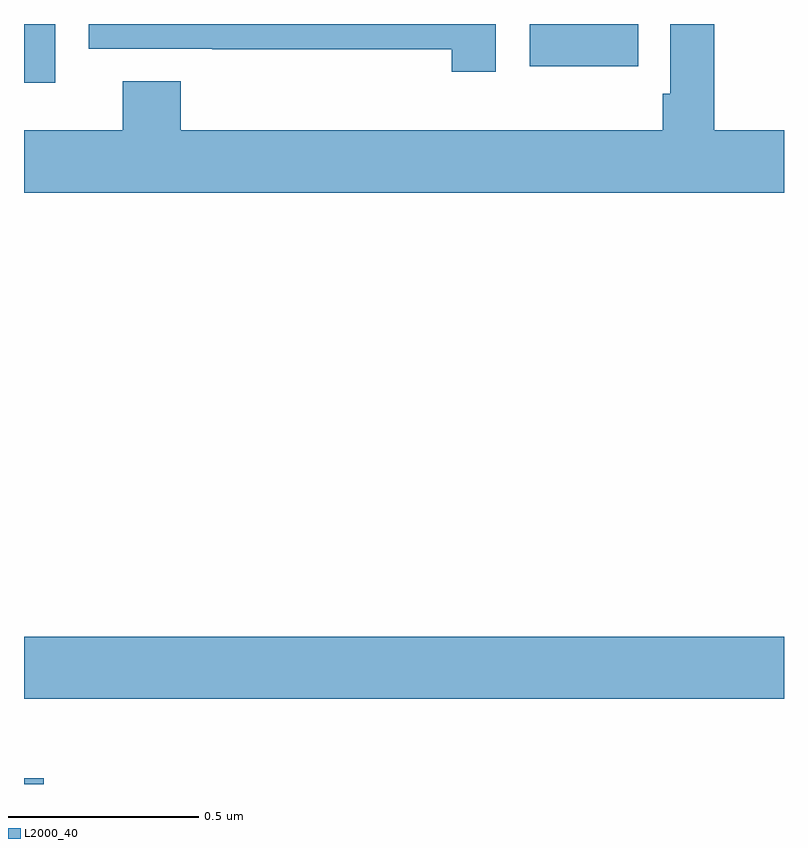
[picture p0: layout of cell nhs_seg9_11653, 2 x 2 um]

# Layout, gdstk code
import gdstk
lib = gdstk.Library(unit=1e-6, precision=1e-09)
def R(c, l, rs):  # rectangles x0, y0, x1, y1
    for r in rs: c.add(gdstk.rectangle(r[:2], r[2:], *l))
def P(c, l, *ps):  # polygons
    for p in ps: c.add(gdstk.Polygon(p, *l))
L2000_40 = (2000, 40)

nhs_seg9_11653 = lib.new_cell('nhs_seg9_11653')
R(nhs_seg9_11653, L2000_40, [(258,1225.5,258.052,1225.515), (258,1225.724,260,1225.888), (258,1227.345,258.082,1227.5), (259.331,1227.389,259.616,1227.5)])
P(nhs_seg9_11653, L2000_40, [(260,1227.22),(259.817,1227.22),(259.817,1227.5),(259.701,1227.5),(259.701,1227.316),(259.681,1227.316),(259.681,1227.22),(258.413,1227.22),(258.413,1227.35),(258.26,1227.35),(258.26,1227.22),(258,1227.22),(258,1227.056),(260,1227.056)],
  [(259.242,1227.5),(258.171,1227.5),(258.171,1227.435),(258.496,1227.435),(258.496,1227.434),(259.126,1227.434),(259.126,1227.375),(259.242,1227.375)])

lib.write_gds('nhs_seg9_11653.gds')
